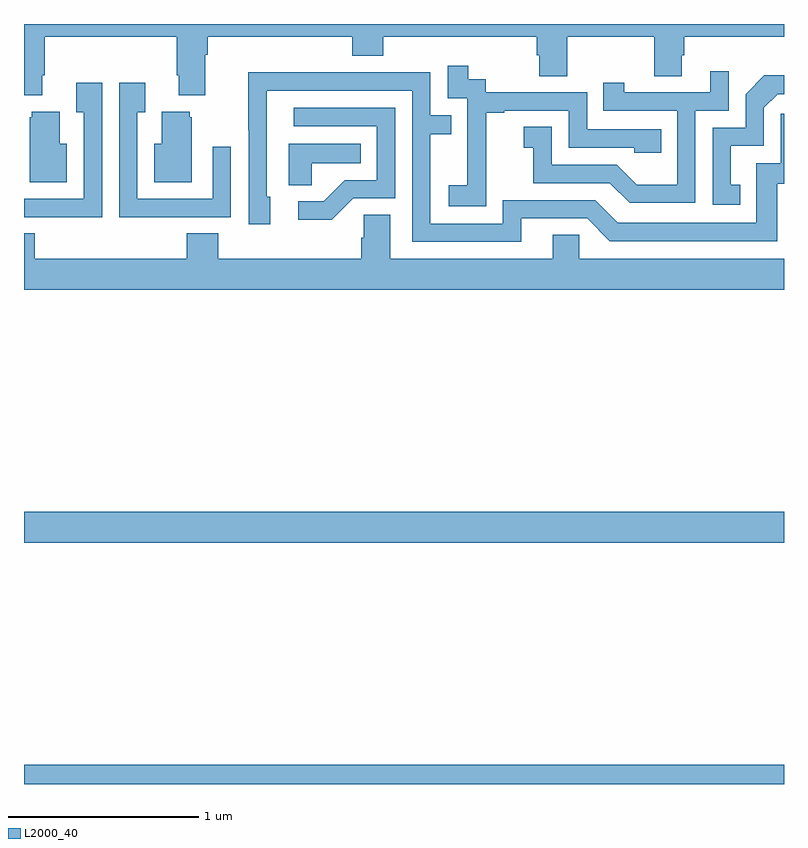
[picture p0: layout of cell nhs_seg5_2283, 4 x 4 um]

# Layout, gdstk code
import gdstk
lib = gdstk.Library(unit=1e-6, precision=1e-09)
def R(c, l, rs):  # rectangles x0, y0, x1, y1
    for r in rs: c.add(gdstk.rectangle(r[:2], r[2:], *l))
def P(c, l, *ps):  # polygons
    for p in ps: c.add(gdstk.Polygon(p, *l))
L2000_40 = (2000, 40)

nhs_seg5_2283 = lib.new_cell('nhs_seg5_2283')
R(nhs_seg5_2283, L2000_40, [(243,880.799,247,880.9), (243,882.068,247,882.232)])
P(nhs_seg5_2283, L2000_40, [(243.097,884.53),(243.11,884.53),(243.11,884.732),(243.803,884.732),(243.803,884.53),(243.815,884.53),(243.815,884.423),(243.955,884.423),(243.955,884.636),(243.968,884.636),(243.968,884.732),(244.727,884.732),(244.727,884.633),(244.892,884.633),(244.892,884.732),(245.699,884.732),(245.699,884.634),(245.711,884.634),(245.711,884.524),(245.859,884.524),(245.859,884.732),(246.316,884.732),(246.316,884.524),(246.463,884.524),(246.463,884.634),(246.476,884.634),(246.476,884.732),(247,884.732),(247,884.799),(243,884.799),(243,884.423),(243.097,884.423)],
  [(245.433,884.047),(245.432,884.047),(245.432,884.331),(245.527,884.331),(245.527,884.343),(245.868,884.343),(245.868,884.148),(246.213,884.148),(246.213,884.121),(246.353,884.121),(246.353,884.244),(245.964,884.244),(245.964,884.439),(245.43,884.439),(245.43,884.508),(245.338,884.508),(245.338,884.578),(245.229,884.578),(245.229,884.409),(245.334,884.409),(245.334,884.18),(245.333,884.18),(245.333,883.951),(245.235,883.951),(245.235,883.841),(245.433,883.841)],
  [(246.534,884.343),(246.708,884.343),(246.708,884.551),(246.611,884.551),(246.611,884.439),(246.16,884.439),(246.16,884.491),(246.049,884.491),(246.049,884.343),(246.438,884.343),(246.438,883.954),(246.224,883.954),(246.12,884.058),(245.778,884.058),(245.778,884.257),(245.631,884.257),(245.631,884.147),(245.68,884.147),(245.68,883.962),(246.083,883.962),(246.188,883.857),(246.534,883.857)],
  [(245.617,883.776),(245.964,883.776),(246.084,883.656),(246.964,883.656),(246.964,883.959),(247,883.959),(247,884.326),(246.984,884.326),(246.984,884.067),(246.855,884.067),(246.855,883.752),(246.126,883.752),(246.006,883.872),(245.52,883.872),(245.52,883.749),(245.139,883.749),(245.139,884.218),(245.249,884.218),(245.249,884.319),(245.139,884.319),(245.139,884.544),(244.643,884.544),(244.643,884.546),(244.18,884.546),(244.18,884.239),(244.182,884.239),(244.182,883.746),(244.297,883.746),(244.297,883.89),(244.278,883.89),(244.278,884.448),(245.043,884.448),(245.043,883.653),(245.617,883.653)],
  [(246.77,883.953),(246.721,883.953),(246.721,884.157),(246.894,884.157),(246.894,884.358),(246.966,884.43),(247,884.43),(247,884.528),(246.896,884.528),(246.798,884.43),(246.798,884.253),(246.624,884.253),(246.624,883.848),(246.77,883.848)],
  [(243.411,884.491),(243.275,884.491),(243.275,884.335),(243.315,884.335),(243.315,883.878),(243,883.878),(243,883.782),(243.139,883.782),(243.139,883.781),(243.411,883.781)],
  [(243.773,883.782),(244.089,883.782),(244.089,884.152),(243.993,884.152),(243.993,883.878),(243.597,883.878),(243.597,884.335),(243.637,884.335),(243.637,884.491),(243.501,884.491),(243.501,883.781),(243.773,883.781)],
  [(244.734,883.881),(244.953,883.881),(244.953,884.358),(244.419,884.358),(244.419,884.262),(244.857,884.262),(244.857,883.977),(244.688,883.977),(244.577,883.866),(244.443,883.866),(244.443,883.769),(244.621,883.769)],
  [(243.883,884.307),(243.872,884.307),(243.872,884.338),(243.725,884.338),(243.725,884.17),(243.686,884.17),(243.686,883.967),(243.883,883.967)],
  [(243.226,884.17),(243.187,884.17),(243.187,884.338),(243.041,884.338),(243.041,884.307),(243.029,884.307),(243.029,883.967),(243.226,883.967)],
  [(244.515,884.066),(244.772,884.066),(244.772,884.17),(244.394,884.17),(244.394,883.951),(244.515,883.951)],
  [(247,883.564),(245.922,883.564),(245.922,883.691),(245.783,883.691),(245.783,883.564),(244.927,883.564),(244.927,883.796),(244.788,883.796),(244.788,883.673),(244.775,883.673),(244.775,883.564),(244.022,883.564),(244.022,883.697),(243.857,883.697),(243.857,883.564),(243.056,883.564),(243.056,883.697),(243,883.697),(243,883.4),(247,883.4)])

lib.write_gds('nhs_seg5_2283.gds')
